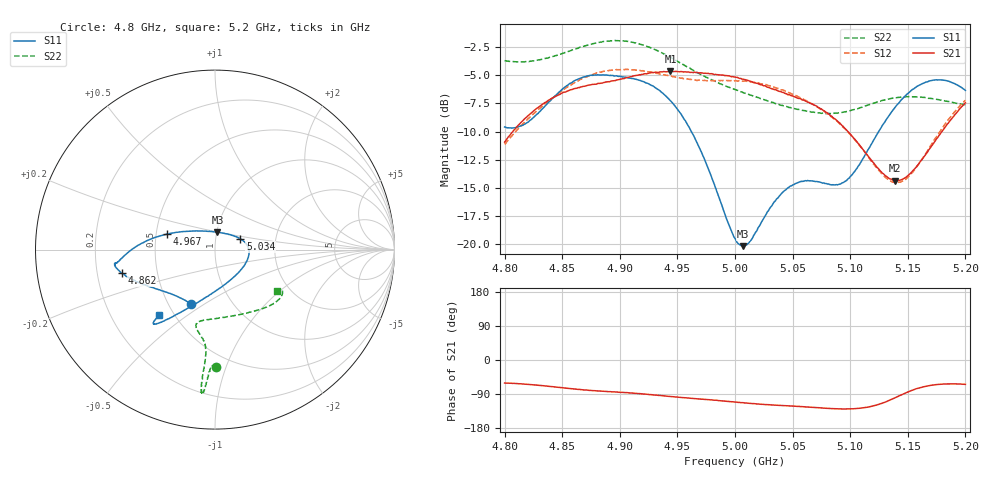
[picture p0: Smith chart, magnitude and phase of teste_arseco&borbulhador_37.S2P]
! Network Analyzer HP8722D
! Hewlett-Packard
! Data name: Linha & Wilkinson
! Saver's name: Rodrigo Anjos
! Comments: Teste da utilização de aquisição
! continua pelo VNA HP8722D
! Time and date: 15/4/2025 15:56
!  Frequency  S11  S21  S12  S22
# HZ  S  MA R 50
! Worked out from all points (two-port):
!   401 points, 4.8 GHz to 5.2 GHz, reference 50 ohm
!   highest |S21| = -4.62 dB at 4.944 GHz (marker M1); lowest = -14.4 dB at 5.139 GHz (marker M2)
!   |S21| within 3 dB of the highest: 4.832 GHz to 5.068 GHz (236.1 MHz wide, 4.77 % of centre); 5.198359 GHz to end of sweep
!   lowest |S11| = -20.2 dB at 5.007 GHz (marker M3), VSWR 1.22, Z = 50.4 + j9.84 ohm
!   |S11| at or under -10 dB: 4.962 GHz to 5.125 GHz (162.7 MHz wide, 3.23 % of centre)
!   |S22| runs from -8.4 to -1.9 dB; largest |S21 - S12| = 0.88
!   S11 on the Smith chart (normalised r, x): 4.8 GHz: 0.65, -0.44; 4.862 GHz: 0.31, -0.11; 4.967 GHz: 0.57, +0.11; 5.034 GHz: 1.32, +0.16; 5.2 GHz: 0.41, -0.39
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4.8e9  0.3315 -114.0  0.2836 -60.9  0.2773 -175.2  0.654 -89.7
4.819e9  0.3456 -133.8  0.3662 -64.0  0.3543 -173.4  0.6482 -91.2
4.862e9  0.5364 -165.9  0.4933 -76.8  0.5269 -176.8  0.7397 -93.6
4.867e9  0.5492 -167.9  0.5003 -78.3  0.5428 -177.5  0.7544 -93.8
4.903e9  0.5533 -172.4  0.5446 -85.7  0.5982 174.9  0.8021 -95.3
4.934e9  0.4839 -178.2  0.5806 -93.6  0.5727 171.6  0.7182 -95.7
4.944e9  0.4335 177.2  0.5875 -96.3  0.5583 171.8  0.6773 -95.4
4.967e9  0.2826 162.3  0.5795 -102.1  0.5335 173.8  0.5795 -95.0
5e9  0.1057 106.1  0.5518 -111.1  0.5333 176.3  0.4864 -99.3
5.007e9  0.0976 82.1  0.5411 -112.7  0.5297 176.3  0.4716 -101.0
5.014e9  0.1039 60.1  0.5286 -114.8  0.5271 176.0  0.4591 -102.6
5.034e9  0.1535 23.2  0.4865 -119.0  0.4984 175.1  0.4235 -103.8
5.048e9  0.1808 8.2  0.4589 -121.2  0.4693 174.5  0.4045 -101.1
5.067e9  0.1907 -12.0  0.4193 -124.7  0.4203 173.8  0.3863 -91.8
5.087e9  0.1829 -44.4  0.3593 -128.6  0.3563 173.7  0.3819 -76.8
5.097e9  0.1916 -65.5  0.3201 -129.1  0.3189 174.2  0.3884 -68.4
5.134e9  0.3744 -116.5  0.1951 -106.5  0.192 -159.3  0.4419 -43.4
5.139e9  0.4059 -119.4  0.1912 -99.6  0.1877 -151.5  0.447 -41.2
5.151e9  0.4718 -124.5  0.203 -83.3  0.2 -132.7  0.4527 -36.6
5.17e9  0.5326 -128.9  0.2698 -66.8  0.2746 -113.0  0.4442 -32.1
5.184e9  0.5318 -130.1  0.3399 -63.1  0.3503 -107.4  0.4313 -31.2
5.2e9  0.4818 -130.6  0.4245 -64.3  0.4355 -106.3  0.416 -33.5
